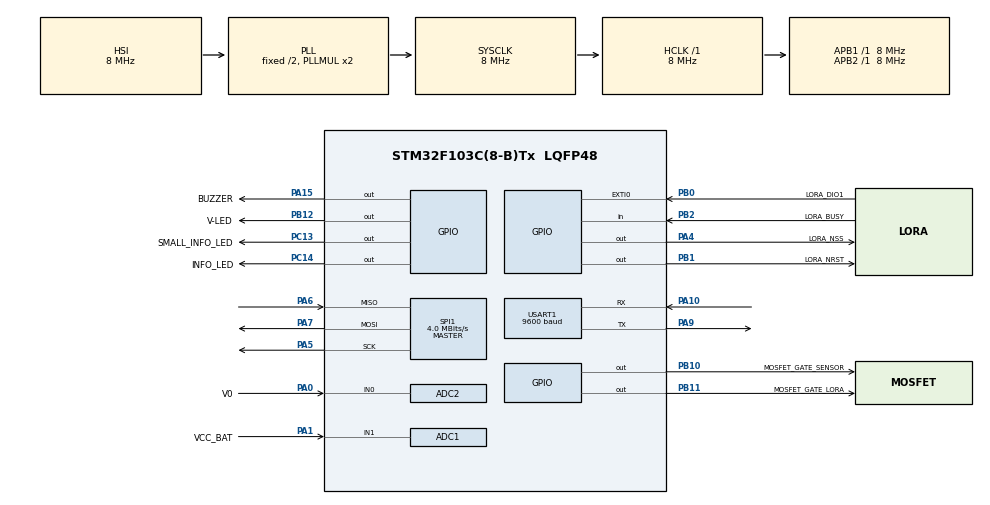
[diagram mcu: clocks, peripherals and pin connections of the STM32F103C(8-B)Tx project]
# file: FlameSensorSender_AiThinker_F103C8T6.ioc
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ADC1.Channel-0\#ChannelRegularConversion=ADC_CHANNEL_1
ADC1.NbrOfConversionFlag=1
ADC1.Rank-0\#ChannelRegularConversion=1
ADC1.SamplingTime-0\#ChannelRegularConversion=ADC_SAMPLETIME_1CYCLE_5
ADC1.master=1
ADC2.Channel-0\#ChannelRegularConversion=ADC_CHANNEL_0
ADC2.NbrOfConversionFlag=1
ADC2.Rank-0\#ChannelRegularConversion=1
ADC2.SamplingTime-0\#ChannelRegularConversion=ADC_SAMPLETIME_1CYCLE_5
Mcu.Family=STM32F1
Mcu.Name=STM32F103C(8-B)Tx
Mcu.Package=LQFP48
NVIC.EXTI0_IRQn=true\:0\:0\:false\:false\:true\:true\:true\:true
NVIC.PriorityGroup=NVIC_PRIORITYGROUP_4
NVIC.RTC_IRQn=true\:0\:0\:false\:false\:true\:true\:true\:true
NVIC.TIM2_IRQn=true\:0\:0\:false\:false\:true\:true\:true\:true
PA0-WKUP.GPIO_Label=V0
PA0-WKUP.Signal=ADCx_IN0
PA1.GPIO_Label=VCC_BAT
PA1.Signal=ADCx_IN1
PA10.Mode=Asynchronous
PA10.Signal=USART1_RX
PA13.Mode=Serial_Wire
PA13.Signal=SYS_JTMS-SWDIO
PA14.Mode=Serial_Wire
PA14.Signal=SYS_JTCK-SWCLK
PA15.GPIO_Label=BUZZER
PA15.Signal=GPIO_Output
PA4.GPIO_Label=LORA_NSS
PA4.GPIO_PuPd=GPIO_PULLUP
PA4.GPIO_Speed=GPIO_SPEED_FREQ_HIGH
PA4.PinState=GPIO_PIN_SET
PA4.Signal=GPIO_Output
PA5.Mode=Full_Duplex_Master
PA5.Signal=SPI1_SCK
PA6.Mode=Full_Duplex_Master
PA6.Signal=SPI1_MISO
PA7.Mode=Full_Duplex_Master
PA7.Signal=SPI1_MOSI
PA9.Mode=Asynchronous
PA9.Signal=USART1_TX
PB0.GPIO_Label=LORA_DIO1
PB0.GPIO_PuPd=GPIO_PULLDOWN
PB0.Signal=GPXTI0
PB1.GPIO_Label=LORA_NRST
PB1.GPIO_PuPd=GPIO_PULLUP
PB1.PinState=GPIO_PIN_SET
PB1.Signal=GPIO_Output
PB10.GPIO_Label=MOSFET_GATE_SENSOR
PB10.GPIO_PuPd=GPIO_PULLDOWN
PB10.Signal=GPIO_Output
PB11.GPIO_Label=MOSFET_GATE_LORA
PB11.GPIO_PuPd=GPIO_PULLDOWN
PB11.PinState=GPIO_PIN_RESET
PB11.Signal=GPIO_Output
PB12.GPIO_Label=V-LED
PB12.GPIO_PuPd=GPIO_NOPULL
PB12.GPIO_Speed=GPIO_SPEED_FREQ_HIGH
PB12.PinState=GPIO_PIN_SET
PB12.Signal=GPIO_Output
PB2.GPIO_Label=LORA_BUSY
PB2.Signal=GPIO_Input
PC13-TAMPER-RTC.GPIO_Label=SMALL_INFO_LED
PC13-TAMPER-RTC.PinState=GPIO_PIN_SET
PC13-TAMPER-RTC.Signal=GPIO_Output
PC14-OSC32_IN.GPIO_Label=INFO_LED
PC14-OSC32_IN.GPIO_ModeDefaultOutputPP=GPIO_MODE_OUTPUT_PP
PC14-OSC32_IN.GPIO_PuPd=GPIO_NOPULL
PC14-OSC32_IN.PinState=GPIO_PIN_RESET
PC14-OSC32_IN.Signal=GPIO_Output
ProjectManager.HeapSize=0x200
ProjectManager.StackSize=0x400
ProjectManager.TargetToolchain=STM32CubeIDE
RCC.AHBFreq_Value=8000000
RCC.APB1Freq_Value=8000000
RCC.APB1TimFreq_Value=8000000
RCC.APB2Freq_Value=8000000
RCC.APB2TimFreq_Value=8000000
RCC.HCLKFreq_Value=8000000
RCC.SYSCLKFreq_VALUE=8000000
RCC.SYSCLKSource=RCC_SYSCLKSOURCE_PLLCLK
RCC.USBFreq_Value=8000000
SH.ADCx_IN0.0=ADC2_IN0,IN0
SH.ADCx_IN1.0=ADC1_IN1,IN1
SPI1.BaudRatePrescaler=SPI_BAUDRATEPRESCALER_2
SPI1.CalculateBaudRate=4.0 MBits/s
SPI1.Direction=SPI_DIRECTION_2LINES
SPI1.Mode=SPI_MODE_MASTER
SPI1.VirtualType=VM_MASTER
TIM2.Prescaler=7
USART1.BaudRate=9600
USART1.VirtualMode=VM_ASYNC
VP_RTC_No_RTC_Output.Mode=RTC_OUT_NO
VP_RTC_VS_RTC_Activate.Mode=RTC_Enabled
VP_RTC_VS_RTC_Calendar.Mode=RTC_Calendar
VP_TIM2_VS_ClockSourceINT.Mode=Internal
board=custom

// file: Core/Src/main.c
/* USER CODE BEGIN Header */
/**
 ******************************************************************************
 * @file           : main.c
 * @brief          : Main program body
 ******************************************************************************
 * @attention
 *
 * Copyright (c) 2025 STMicroelectronics.
 * All rights reserved.
 *
 * This software is licensed under terms that can be found in the LICENSE file
 * in the root directory of this software component.
 * If no LICENSE file comes with this software, it is provided AS-IS.
 *
 ******************************************************************************
 */
/* USER CODE END Header */
#include "main.h"
#include "adc.h"
#include "rtc.h"
#include "spi.h"
#include "tim.h"
#include "usart.h"
#include "gpio.h"

/* USER CODE BEGIN Includes */
#include "adc.h"
#include "spi.h"
#include <stdio.h>
#include "DebugLog.h"
#include "Types.h"
#include "AlarmReset.h"
#include "SerialNumber.h"
#include "BatteryLevel.h"
#include "InfraSensor.h"
#include "BackupReg.h"
#include <stdbool.h>
#include "DataStorage.h"
#include "LoraSender.h"

/* USER CODE END Includes */

void SystemClock_Config(void);

int main(void)
{

  /* MCU Configuration--------------------------------------------------------*/

  /* Reset of all peripherals, Initializes the Flash interface and the Systick. */
  HAL_Init();

  /* Configure the system clock */
  SystemClock_Config();

  /* Initialize all configured peripherals */
  MX_GPIO_Init();
  MX_ADC1_Init();
  MX_ADC2_Init();
  MX_RTC_Init();
  MX_SPI1_Init();
  MX_TIM2_Init();
  MX_USART1_UART_Init();
  /* USER CODE BEGIN 2 */

	Settings_t settings;
	SerialNumber_t hw_serial;
	Battery_t Battery;
	SendPacket_t packet;

	bool ALERT_FLAG = false;

	debug_init(&huart1);

	debug("========================");
	debug("The device has woken up!");

	settings = retrieveSettingsFromFlash();

	debug("\tAlarm level: %d.%02d", (uint8_t) settings.alarm_level,
			(uint8_t) (settings.alarm_level * 100) % 100);
	debug("\tSleep time: %d sec", settings.sleep_time);
	debug("\tHeartbeat every: %d time\n\r", settings.times_to_heartbeat);

	MX_ADC1_Init();
	Battery = get_battery_level(&hadc1);
	HAL_ADC_DeInit(&hadc1);

	// Powering VCC to Smoke Sensor and polling for data
	MX_ADC2_Init();
	HAL_GPIO_WritePin(GPIOB, MOSFET_GATE_SENSOR_Pin, GPIO_PIN_SET);
	float sensor_data = get_infra_sensor_data(&hadc2, 1);
	if (sensor_data >= settings.alarm_level) {
		sensor_data = get_infra_sensor_data(&hadc2, 3);
		if (sensor_data >= settings.alarm_level)
			ALERT_FLAG = true;
	}
	HAL_GPIO_WritePin(GPIOB, MOSFET_GATE_SENSOR_Pin, GPIO_PIN_RESET);
	HAL_ADC_DeInit(&hadc2);

	init_backup_register();
	uint8_t backup_reg_current_value = read_backup_register();
	debug("Sleeps to heartbeat: %d of %d\n\r", backup_reg_current_value + 1,
			settings.times_to_heartbeat);

	if ((backup_reg_current_value + 1 >= settings.times_to_heartbeat)
			|| ALERT_FLAG) {

		hw_serial = get_serial_number();

		packet.ID = hw_serial.byte_2;
		packet.battery_level = Battery.charge_percent;
		packet.sensor_data = sensor_data;
		debug("Formed packet:");
		debug("\tID: %d", (uint8_t) packet.ID);
		debug("\tbattery_level: %d%%", (uint8_t) Battery.charge_percent);
		debug("\tsensor_data: %d.%02d\n\r", (uint8_t) sensor_data,
				(uint16_t) (sensor_data * 100) % 100);

		HAL_GPIO_WritePin(GPIOB, MOSFET_GATE_LORA_Pin, GPIO_PIN_SET);
		MX_SPI1_Init();
		send_packet(&hspi1, packet);
		HAL_GPIO_WritePin(GPIOB, MOSFET_GATE_LORA_Pin, GPIO_PIN_RESET);

		write_backup_register(0);
	} else {
		write_backup_register(++backup_reg_current_value);
	}

	if (ALERT_FLAG) {
		debug("\n\rBUZZ BUZZ BUZZ\n\r\n\r");

		HAL_GPIO_WritePin(GPIOB, MOSFET_GATE_SENSOR_Pin, GPIO_PIN_SET);
		for (int i = 0; i < 3; i++) {
			HAL_GPIO_WritePin(BUZZER_GPIO_Port, BUZZER_Pin, GPIO_PIN_SET);
			HAL_Delay(500);
			HAL_GPIO_WritePin(BUZZER_GPIO_Port, BUZZER_Pin, GPIO_PIN_RESET);
			HAL_Delay(500);
		}
		HAL_GPIO_WritePin(GPIOB, MOSFET_GATE_SENSOR_Pin, GPIO_PIN_RESET);

		settings.sleep_time = 5;
	}

	//  Toggling RED LED
	HAL_GPIO_WritePin(INFO_LED_GPIO_Port, INFO_LED_Pin, GPIO_PIN_SET);
	HAL_Delay(1);
	HAL_GPIO_WritePin(INFO_LED_GPIO_Port, INFO_LED_Pin, GPIO_PIN_RESET);

	// Sleeping
	set_alarm(&hrtc, settings.sleep_time);

	debug("Going STANDBY MODE\n\r\n\r");

	HAL_PWR_EnterSTANDBYMode();
  /* USER CODE END 2 */

  /* Infinite loop */
	while (1) {

	}
}

void SystemClock_Config(void)
{
  RCC_OscInitTypeDef RCC_OscInitStruct = {0};
  RCC_ClkInitTypeDef RCC_ClkInitStruct = {0};
  RCC_PeriphCLKInitTypeDef PeriphClkInit = {0};

  /** Initializes the RCC Oscillators according to the specified parameters
  * in the RCC_OscInitTypeDef structure.
  */
  RCC_OscInitStruct.OscillatorType = RCC_OSCILLATORTYPE_HSI|RCC_OSCILLATORTYPE_LSI;
  RCC_OscInitStruct.HSIState = RCC_HSI_ON;
  RCC_OscInitStruct.HSICalibrationValue = RCC_HSICALIBRATION_DEFAULT;
  RCC_OscInitStruct.LSIState = RCC_LSI_ON;
  RCC_OscInitStruct.PLL.PLLState = RCC_PLL_ON;
  RCC_OscInitStruct.PLL.PLLSource = RCC_PLLSOURCE_HSI_DIV2;
  RCC_OscInitStruct.PLL.PLLMUL = RCC_PLL_MUL2;
  if (HAL_RCC_OscConfig(&RCC_OscInitStruct) != HAL_OK)
  {
    Error_Handler();
  }

  /** Initializes the CPU, AHB and APB buses clocks
  */
  RCC_ClkInitStruct.ClockType = RCC_CLOCKTYPE_HCLK|RCC_CLOCKTYPE_SYSCLK
                              |RCC_CLOCKTYPE_PCLK1|RCC_CLOCKTYPE_PCLK2;
  RCC_ClkInitStruct.SYSCLKSource = RCC_SYSCLKSOURCE_PLLCLK;
  RCC_ClkInitStruct.AHBCLKDivider = RCC_SYSCLK_DIV1;
  RCC_ClkInitStruct.APB1CLKDivider = RCC_HCLK_DIV1;
  RCC_ClkInitStruct.APB2CLKDivider = RCC_HCLK_DIV1;

  if (HAL_RCC_ClockConfig(&RCC_ClkInitStruct, FLASH_LATENCY_0) != HAL_OK)
  {
    Error_Handler();
  }
  PeriphClkInit.PeriphClockSelection = RCC_PERIPHCLK_RTC|RCC_PERIPHCLK_ADC;
  PeriphClkInit.RTCClockSelection = RCC_RTCCLKSOURCE_LSI;
  PeriphClkInit.AdcClockSelection = RCC_ADCPCLK2_DIV2;
  if (HAL_RCCEx_PeriphCLKConfig(&PeriphClkInit) != HAL_OK)
  {
    Error_Handler();
  }
}

/* USER CODE BEGIN 4 */
void HAL_RTC_AlarmAEventCallback(RTC_HandleTypeDef *hrtc) {
	// Просто заглушка — достаточно, чтобы выйти из Standby
	debug("RTC Alarm Callback triggered!\n\r");
}
/* USER CODE END 4 */

void Error_Handler(void)
{
	__disable_irq();
	while (1) {
	}
}
